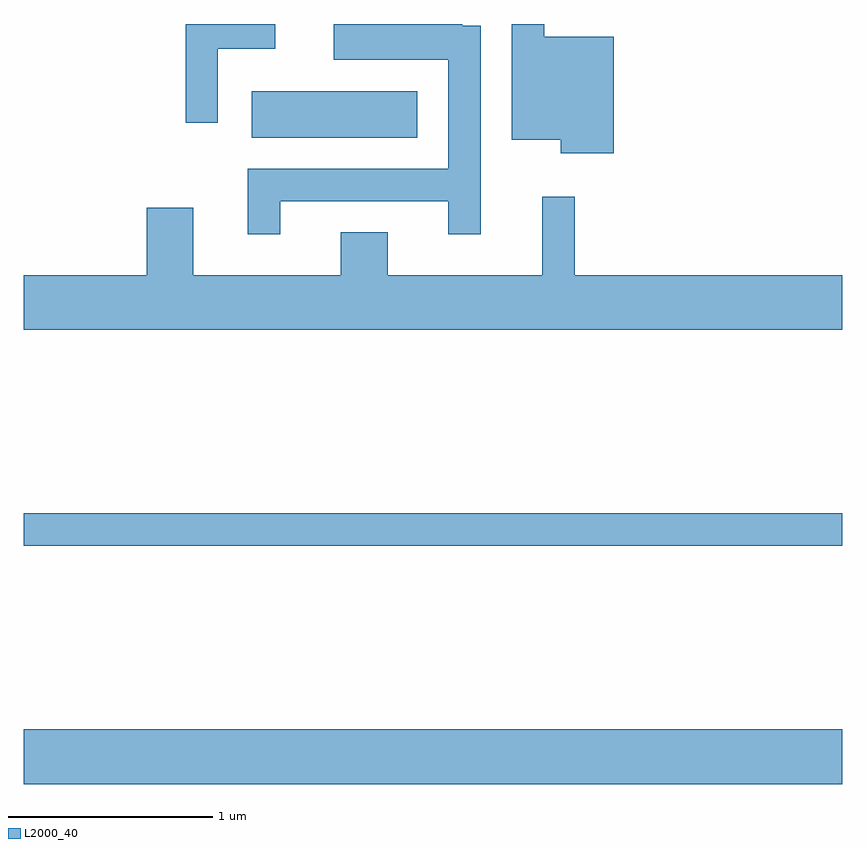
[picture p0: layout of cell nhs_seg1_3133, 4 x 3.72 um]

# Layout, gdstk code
import gdstk
lib = gdstk.Library(unit=1e-6, precision=1e-09)
def R(c, l, rs):  # rectangles x0, y0, x1, y1
    for r in rs: c.add(gdstk.rectangle(r[:2], r[2:], *l))
def P(c, l, *ps):  # polygons
    for p in ps: c.add(gdstk.Polygon(p, *l))
L2000_40 = (2000, 40)

nhs_seg1_3133 = lib.new_cell('nhs_seg1_3133')
R(nhs_seg1_3133, L2000_40, [(279.611,923.996,283.611,924.264), (279.611,925.161,283.611,925.319), (280.726,927.156,281.534,927.384)])
P(nhs_seg1_3133, L2000_40, [(280.864,926.846),(281.686,926.846),(281.686,926.683),(281.844,926.683),(281.844,927.704),(281.754,927.704),(281.754,927.712),(281.126,927.712),(281.126,927.536),(281.686,927.536),(281.686,927.004),(280.706,927.004),(280.706,926.683),(280.864,926.683)],
  [(280.559,927.591),(280.839,927.591),(280.839,927.712),(280.401,927.712),(280.401,927.228),(280.559,927.228)],
  [(282.494,927.649),(282.154,927.649),(282.154,927.712),(281.996,927.712),(281.996,927.146),(282.236,927.146),(282.236,927.081),(282.494,927.081)],
  [(283.611,926.484),(282.304,926.484),(282.304,926.868),(282.146,926.868),(282.146,926.484),(281.389,926.484),(281.389,926.694),(281.161,926.694),(281.161,926.484),(280.439,926.484),(280.439,926.814),(280.211,926.814),(280.211,926.484),(279.611,926.484),(279.611,926.216),(283.611,926.216)])

lib.write_gds('nhs_seg1_3133.gds')
